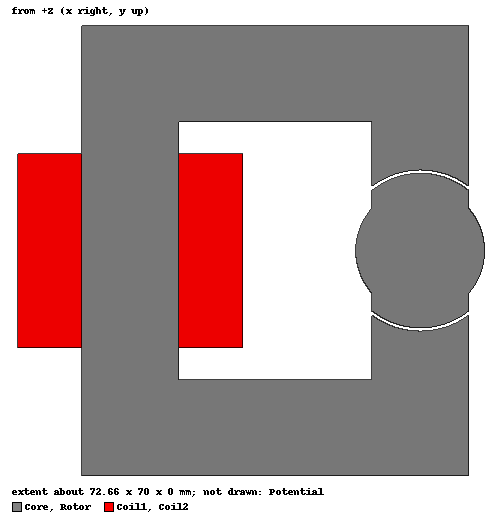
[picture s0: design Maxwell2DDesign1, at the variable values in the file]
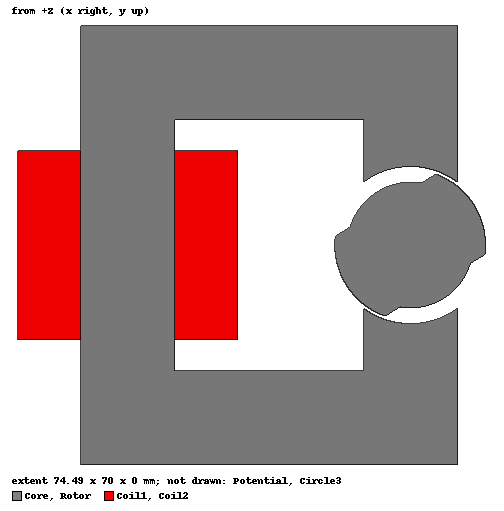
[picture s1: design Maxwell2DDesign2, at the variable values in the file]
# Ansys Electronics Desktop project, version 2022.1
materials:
  vacuum: permittivity=1
  copper: permeability=0.999991 conductivity=58000000
  steel_linear: permittivity=1 permeability=667.75 conductivity=2000000 lande_g_factor=2
  steel_1011: permittivity=1 permeability{HUnit=A_per_meter BUnit=tesla curve (0, 0) (100, 0.08391194) (200, 0.16782388) (300, 0.251735819) (400, 0.335647759) (500, 0.419559699) (600, 0.503471639) (700, 0.587383578) (800, 0.671295518) (900, 0.755207458) (1000, 0.839119398) (1100, 0.923031338) (1200, 1.006943277) (1300, 1.090855217) (1400, 1.174767157) (1500, 1.258679097) (1600, 1.342591036) (1700, 1.426502976) (1800, 1.510414916) (1900, 1.594326856) (2000, 1.678238796) (2100, 1.762150735) (2200, 1.846062675) (2300, 1.929974615) (2400, 2.013886555) (2500, 2.097798494) (2600, 2.181710434) (2700, 2.265622374) (2800, 2.349534314) (2900, 2.433446254) (3000, 2.517358193) (3100, 2.601270133) (3200, 2.685182073) (3300, 2.769094013) (3400, 2.853005952) (3500, 2.936917892) (3600, 3.020829832)} conductivity=2000000 lande_g_factor=2
  steel_1010: permittivity=1 permeability{HUnit=A_per_meter BUnit=tesla curve (0, 0) (238.7, 0.2003) (318.3, 0.3204) (358.1, 0.40045) (437.7, 0.50055) (477.5, 0.5606) (636.6, 0.7908) (795.8, 0.931) (1114.1, 1.1014) (1273.2, 1.2016) (1591.5, 1.302) (2228.2, 1.4028) (3183.1, 1.524) (4774.6, 1.626) (6366.2, 1.698) (7957.7, 1.73) (15915.5, 1.87) (31831, 1.99) (47746.5, 2.04) (63662, 2.07) (79577.5, 2.095) (159155, 2.2) (318310, 2.4)} conductivity=2000000 lande_g_factor=2

design Maxwell2DDesign1 (Maxwell 2D, Magnetostatic, XY geometry, model units mm)
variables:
  teta = 0deg
  angle = 1
  rotationAngle = -180deg
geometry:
  Core [steel_1010] = rectangle(corner=(0mm, 0mm, 0mm), x_size=60mm, y_size=70mm)
  Rectangle2 = rectangle(corner=(15mm, 15mm, 0mm), x_size=30mm, y_size=40mm)
  Circle1 = circle(normal=Z, centre=(52.5mm, 35mm, 0mm), radius=12.5mm)
  Circle2 = circle(normal=Z, centre=(52.5mm, 35mm, 0mm), radius=12mm)
  Rotor [steel_1010] = circle(normal=Z, centre=(52.5mm, 35mm, 0mm), radius=10mm)
  Core.subtract(Rectangle2)
  Core.subtract(Circle1)
  Rectangle3 = rectangle(corner=(45mm, 25.63mm, 0mm), x_size=15mm, y_size=18.73mm)
  Rectangle4 = rectangle(corner=(45mm, 25.63mm, 0mm), x_size=-5mm, y_size=18.73mm)
  Circle2.subtract(Rectangle4)
  Rectangle5 = rectangle(corner=(60mm, 25.63mm, 0mm), x_size=5mm, y_size=18.73mm)
  Circle2.subtract(Rectangle5)
  Rotor.unite(Rectangle3, Circle2)
  Coil1 [copper] = rectangle(corner=(0mm, 20mm, 0mm), x_size=-10mm, y_size=30mm)
  Coil2 [copper] = rectangle(corner=(15mm, 20mm, 0mm), x_size=10mm, y_size=30mm)
  [Core, Rotor, Coil1, Coil2].move(-52.5mm, -35.000002mm, 0mm)
  Potential [vacuum] = rectangle(corner=(-100mm, -70mm, 0mm), x_size=150mm, y_size=140mm)
  Rotor.rotate(axis=Z, angle=rotationAngle)
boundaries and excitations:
  VectorPotential: Vector Potential Edges=Potential.edge(all 4) Value=0
  CurrentPos: Current Objects=Coil1 Current=750A IsPositive=true
  CurrentNeg: Current Objects=Coil2 Current=750A IsPositive=false
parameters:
  Torque1: Torque Coordinate_System=Global Is_Positive=true Objects=Rotor
  Matrix1: Matrix CurrentPos: NumberOfTurns=250 ReturnPath=CurrentNeg
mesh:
  initial mesh: MeshMethod=AnsoftTAU
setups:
  Setup1: Magnetostatic MaximumPasses=10 MinimumPasses=2 MinimumConvergedPasses=1 PercentRefinement=30 PercentError=1 NonLinearResidual=1e-06
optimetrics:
  ParametricSetup1: Parametric Sim._Setups=[Setup1]
    sweep rotationAngle: LIN -180deg 180deg 1deg
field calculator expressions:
  Wmagnetic = H_Vector | B_Vector | Dot | EnterVolume(AllObjects) | VolumeValue | Integrate
  Wmag2 = Wmagnetic | 50 | /
  Enerji = energy
  e = energy | coEnergy | -
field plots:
  B_Vector1: B over Core, Rotor, Coil1, Coil2, Potential on Setup1 : LastAdaptive
  Mag_B1: B over Core, Rotor, Coil1, Coil2 on Setup1 : LastAdaptive
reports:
  InductanceVsRotation: Matrix1.L(CurrentPos,CurrentPos)/50 vs rotationAngle on Setup1 : LastAdaptive
  TorqueVsRotation: Torque1.Torque/50 vs rotationAngle on Setup1 : LastAdaptive
  Stored Energy: Wmag2 vs rotationAngle on Setup1 : LastAdaptive

design Maxwell2DDesign2 (Maxwell 2D, Transient, XY geometry, model units mm)
options: ModelDepth=20mm
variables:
  teta = 0deg
  angle = 1
  rotationAngle = -180deg
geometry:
  Core [steel_1010] = rectangle(corner=(0mm, 0mm, 0mm), x_size=60mm, y_size=70mm)
  Rectangle2 = rectangle(corner=(15mm, 15mm, 0mm), x_size=30mm, y_size=40mm)
  Circle1 = circle(normal=Z, centre=(52.5mm, 35mm, 0mm), radius=12.5mm)
  Circle2 = circle(normal=Z, centre=(52.5mm, 35mm, 0mm), radius=12mm)
  Rotor [steel_1010] = circle(normal=Z, centre=(52.5mm, 35mm, 0mm), radius=10mm)
  Core.subtract(Rectangle2)
  Core.subtract(Circle1)
  Rectangle3 = rectangle(corner=(45mm, 25.63mm, 0mm), x_size=15mm, y_size=18.73mm)
  Rectangle4 = rectangle(corner=(45mm, 25.63mm, 0mm), x_size=-5mm, y_size=18.73mm)
  Circle2.subtract(Rectangle4)
  Rectangle5 = rectangle(corner=(60mm, 25.63mm, 0mm), x_size=5mm, y_size=18.73mm)
  Circle2.subtract(Rectangle5)
  Rotor.unite(Rectangle3, Circle2)
  Coil1 [copper] = rectangle(corner=(0mm, 20mm, 0mm), x_size=-10mm, y_size=30mm)
  Coil2 [copper] = rectangle(corner=(15mm, 20mm, 0mm), x_size=10mm, y_size=30mm)
  [Core, Rotor, Coil1, Coil2].move(-52.5mm, -35.000002mm, 0mm)
  Potential [vacuum] = rectangle(corner=(-100mm, -70mm, 0mm), x_size=150mm, y_size=140mm)
  Circle3 [vacuum] = circle(normal=Z, centre=(0mm, 0mm, 0mm), radius=12.225mm)
  Rotor.rotate(axis=Z, angle=-45)
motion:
  MotionSetup1: Band Move_Type=Rotate Coordinate_System=Global Axis=Z Is_Positive=true InitPos=0deg Angular_Velocity=0rpm Moment_of_Inertia=0.005 Damping=0 Load_Torque=0NewtonMeter Objects=Circle3
  Moving1: Moving Objects=Rotor
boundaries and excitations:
  VectorPotential: Vector Potential Edges=Potential.edge(all 4) Value=0
  Coil1: Coil Objects=Coil1 Conductor_number=750 Winding=Winding1 PolarityType=Positive
  Coil2: Coil Objects=Coil2 Conductor_number=750 Winding=Winding1 PolarityType=Negative
  Winding1: Winding Group Type=Current IsSolid=false Current=if(Position<pi/4,3,0) ParallelBranchesNum=1
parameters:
  Torque1: Torque Coordinate_System=Global Is_Positive=true Objects=Rotor
  Force1: Force Reference_CS=Global Objects=Rotor
  Torque2: Torque Coordinate_System=Global Is_Positive=true Objects=Rotor
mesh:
  CylindricalGap1: CylindricalGap Objects=Circle3
  initial mesh: MeshMethod=AnsoftTAU
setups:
  Setup1: Transient NonlinearSolverResidual=1e-06 StopTime=2000ms TimeStep=10ms SaveFieldsType="Every N Steps" N_Steps=1 Steps_From=0s Steps_To=2000ms NumberSolveSteps=1 RangeStart=0s RangeEnd=0.1s InitialTimeStep=0.002s MinTimeStep=0.001s MaxTimeStep=0.003s TimeStepErrTolerance=0.0001
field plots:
  Mag_B1: B over Core, Rotor, Coil1, Coil2 on Setup1 : Transient at Time=0s
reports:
  Force Plot 1: Force1.Force_mag vs Time on Setup1 : Transient
  Torque Plot 1: Torque2.Torque vs Time on Setup1 : Transient
  Winding Plot 1: InputCurrent(Winding1) vs Time on Setup1 : Transient
